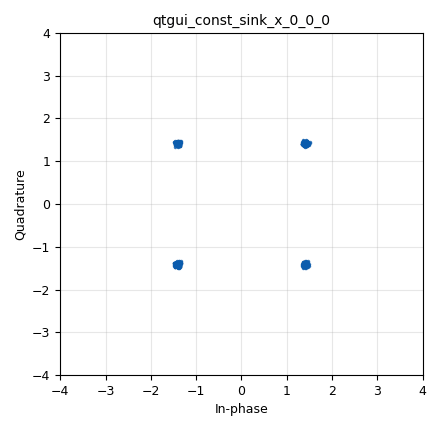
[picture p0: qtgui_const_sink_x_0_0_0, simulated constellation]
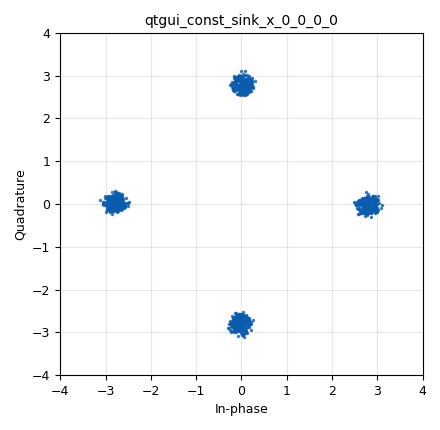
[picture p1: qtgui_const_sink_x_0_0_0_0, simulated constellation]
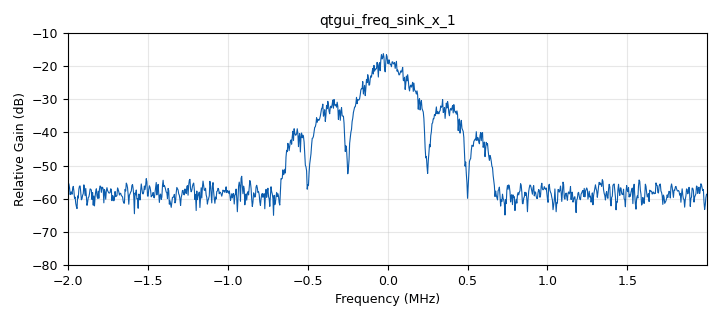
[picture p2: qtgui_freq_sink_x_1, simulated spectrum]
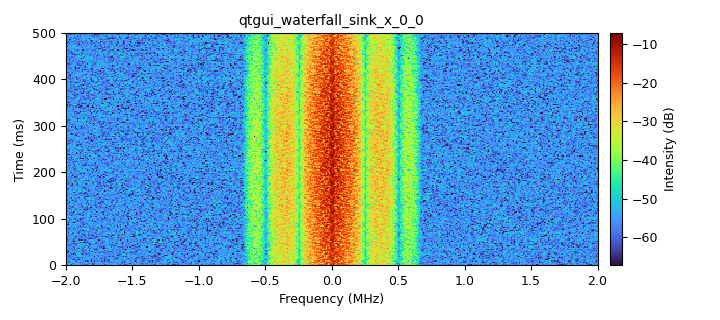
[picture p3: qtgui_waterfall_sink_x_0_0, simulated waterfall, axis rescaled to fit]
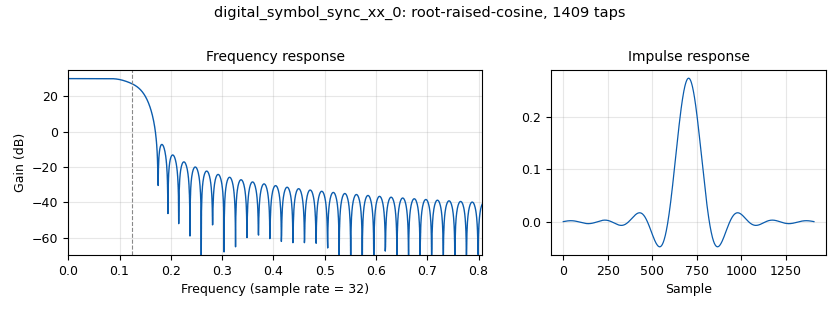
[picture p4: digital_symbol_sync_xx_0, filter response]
options:
  parameters:
    generate_options: qt_gui
    id: rayleighchan
    output_language: python
    title: rayleighchan
  states: {}

blocks:
- name: adapt_alg
  id: variable_adaptive_algorithm
  parameters:
    cons: my_variable_constellation
    modulus: '4'
    step_size: '.0001'
    type: lms
  states: {}
- name: my_variable_constellation
  id: variable_constellation
  parameters:
    precision: '8'
    type: qpsk
  states: {}
- name: nfilts
  id: variable
  parameters:
    value: '32'
  states: {}
- name: rrc
  id: variable
  parameters:
    value: firdes.root_raised_cosine(nfilts, nfilts, 1.0/float(sps), 0.35, 11*sps*nfilts)
  states: {}
- name: samp_rate
  id: variable
  parameters:
    value: '4000000'
  states: {}
- name: sps
  id: variable
  parameters:
    value: '4'
  states: {}
- name: analog_random_source_x_0
  id: analog_random_source_x
  parameters:
    max: '3'
    min: '0'
    num_samps: '1000'
    repeat: 'True'
    type: byte
  states: {}
- name: blocks_throttle_0_0
  id: blocks_throttle
  parameters:
    samples_per_second: samp_rate
    type: complex
  states: {}
- name: channels_channel_model_0
  id: channels_channel_model
  parameters:
    epsilon: '1.0'
    freq_offset: '0.0'
    noise_voltage: '0.1'
    seed: '0'
    taps: '1'
  states: {}
- name: channels_fading_model_0
  id: channels_fading_model
  parameters:
    LOS: 'False'
    N: '8'
    fDTs: 1.0/samp_rate
    seed: '0'
  states: {}
- name: digital_constellation_modulator_0
  id: digital_constellation_modulator
  parameters:
    constellation: my_variable_constellation
    differential: 'True'
    excess_bw: '0.35'
    samples_per_symbol: sps
  states: {}
- name: digital_linear_equalizer_0_0
  id: digital_linear_equalizer
  parameters:
    alg: adapt_alg
    num_taps: '15'
    sps: int(sps)
  states: {}
- name: digital_symbol_sync_xx_0
  id: digital_symbol_sync_xx
  parameters:
    constellation: digital.constellation_16qam().base()
    damping: '1.0'
    loop_bw: '0.06283'
    max_dev: '1.5'
    nfilters: '32'
    osps: int(sps)
    pfb_mf_taps: rrc
    resamp_type: digital.IR_PFB_MF
    sps: sps
    ted_gain: '1.0'
    ted_type: digital.TED_SIGNAL_TIMES_SLOPE_ML
    type: cc
  states: {}
- name: qtgui_const_sink_x_0_0_0
  id: qtgui_const_sink_x
  parameters:
    size: '1024'
    type: complex
    update_time: '0.01'
    xmax: '4'
    xmin: '-4'
    ymax: '4'
    ymin: '-4'
  states: {}
- name: qtgui_const_sink_x_0_0_0_0
  id: qtgui_const_sink_x
  parameters:
    size: '1024'
    type: complex
    update_time: '0.01'
    xmax: '4'
    xmin: '-4'
    ymax: '4'
    ymin: '-4'
  states: {}
- name: qtgui_freq_sink_x_1
  id: qtgui_freq_sink_x
  parameters:
    average: '0.2'
    bw: samp_rate
    fc: '0'
    fftsize: '1024'
    type: complex
    ymax: '-10'
    ymin: '-80'
  states: {}
- name: qtgui_waterfall_sink_x_0_0
  id: qtgui_waterfall_sink_x
  parameters:
    bw: samp_rate
    fc: '0'
    fftsize: '1024'
    int_max: '-20'
    int_min: '-60'
    type: complex
    update_time: '0.01'
  states: {}
- name: rational_resampler_xxx_1
  id: rational_resampler_xxx
  parameters:
    decim: sps
    interp: '1'
    type: ccc
  states: {}

connections:
- [analog_random_source_x_0, '0', digital_constellation_modulator_0, '0']
- [blocks_throttle_0_0, '0', qtgui_const_sink_x_0_0_0, '0']
- [channels_channel_model_0, '0', digital_symbol_sync_xx_0, '0']
- [channels_channel_model_0, '0', qtgui_freq_sink_x_1, '0']
- [channels_channel_model_0, '0', qtgui_waterfall_sink_x_0_0, '0']
- [channels_channel_model_0, '0', rational_resampler_xxx_1, '0']
- [channels_fading_model_0, '0', channels_channel_model_0, '0']
- [digital_constellation_modulator_0, '0', channels_fading_model_0, '0']
- [digital_linear_equalizer_0_0, '0', blocks_throttle_0_0, '0']
- [digital_symbol_sync_xx_0, '0', digital_linear_equalizer_0_0, '0']
- [rational_resampler_xxx_1, '0', qtgui_const_sink_x_0_0_0_0, '0']

metadata:
  file_format: 1
  grc_version: 3.10.2.0
